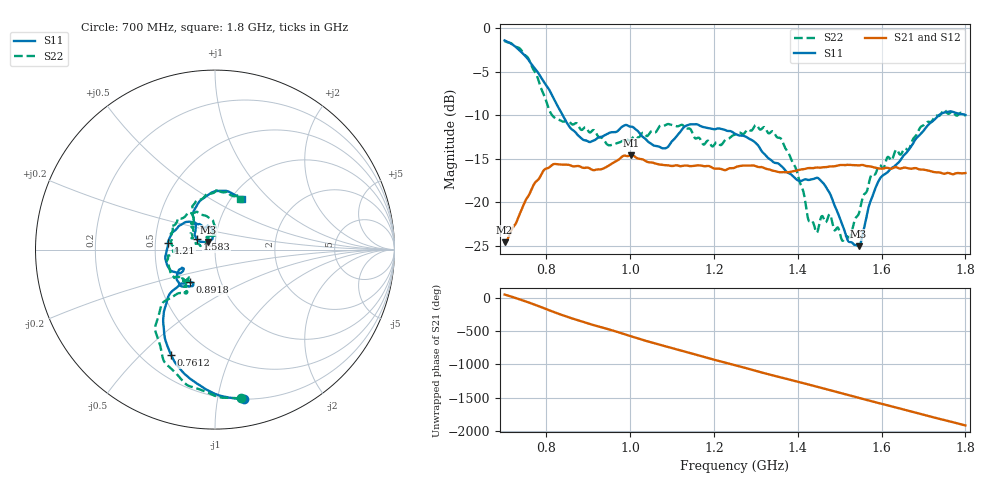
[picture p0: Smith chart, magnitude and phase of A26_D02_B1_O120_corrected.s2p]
! Created with skrf 1.9.0 (http://scikit-rf.org).
# Hz S RI R 50.0
!freq ReS11 ImS11 ReS21 ImS21 ReS12 ImS12 ReS22 ImS22
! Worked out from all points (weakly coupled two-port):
!   1601 points, 700 MHz to 1.8 GHz, reference 50 ohm
!   highest |S21| = -14.59 dB at 1.002 GHz (marker M1); lowest = -24.6 dB at 700 MHz (marker M2)
!   lowest |S11| = -25.0 dB at 1.545 GHz (marker M3), VSWR 1.12, Z = 46.3 + j3.93 ohm
!   |S11| at or under -10 dB: 838.5 MHz to 1.736 GHz (897.9 MHz wide, 69.7 % of centre)
!   |S22| runs from -24.4 to -1.5 dB; largest |S21 - S12| = 0.0035
!   S11 on the Smith chart (normalised r, x): 700 MHz: 0.20, -1.19; 761.2 MHz: 0.31, -0.62; 891.8 MHz: 0.71, -0.27; 1.21 GHz: 0.58, +0.05; 1.583 GHz: 0.81, +0.09; 1.8 GHz: 1.12, +0.70
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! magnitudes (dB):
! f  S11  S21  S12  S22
! 700 MHz  -1.4  -24.6  -24.4  -1.5
! 761.2 MHz  -3.9  -18.9  -18.8  -3.9
! 814.1 MHz  -7.8  -15.7  -15.7  -10.0
! 883.6 MHz  -12.7  -16.0  -15.9  -11.7
! 891.8 MHz  -12.9  -16.1  -16.1  -11.4
! 949.6 MHz  -12.0  -15.8  -15.8  -13.5
! 1.002 GHz  -11.3  -14.6  -14.7  -12.8
! 1.067 GHz  -13.6  -15.6  -15.6  -11.5
! 1.139 GHz  -11.1  -15.8  -15.8  -11.5
! 1.21 GHz  -11.5  -16.1  -16.1  -13.2
! 1.25 GHz  -12.1  -16.0  -15.9  -12.2
! 1.301 GHz  -13.2  -15.9  -15.8  -11.1
! 1.359 GHz  -15.8  -16.6  -16.5  -12.7
! 1.395 GHz  -17.3  -16.4  -16.4  -16.1
! 1.434 GHz  -17.4  -16.1  -16.0  -22.1
! 1.476 GHz  -19.0  -15.9  -15.9  -21.4
! 1.508 GHz  -22.9  -15.7  -15.7  -24.4
! 1.545 GHz  -25.0  -15.8  -15.7  -21.4
! 1.583 GHz  -18.7  -16.0  -16.0  -16.8
! 1.617 GHz  -16.4  -16.1  -16.0  -14.8
! 1.738 GHz  -9.9  -16.6  -16.6  -10.1
! 1.8 GHz  -10.0  -16.6  -16.6  -10.0
